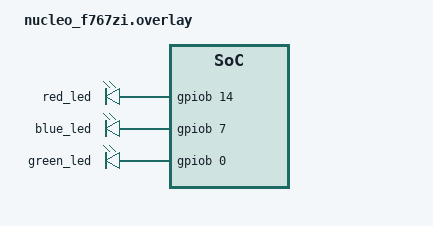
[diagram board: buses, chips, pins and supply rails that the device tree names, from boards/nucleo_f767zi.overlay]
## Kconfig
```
choice BLINK
  prompt "BLINK choice"
  default BLINK_SLEEP_1000MS

config BLINK_SLEEP_250MS
    bool "Fast"
config BLINK_SLEEP_1000MS
    bool "Normal"
config BLINK_SLEEP_2000MS
    bool "Slow"
endchoice

config BLINK_SLEEP_TIME_MS 
    int 
    default 250 if BLINK_SLEEP_250MS
    default 1000 if BLINK_SLEEP_1000MS
    default 2000 if BLINK_SLEEP_2000MS
    default 0
    range 100 5000 
    help
          help  string can be multiline like this one


menuconfig LED_SUBSYSTEM
  bool "LED Subsystem"
  default y

  if LED_SUBSYSTEM 

  choice BLINK_SLEEP_TIME
    prompt "LED blink sleep time"
    default BLINK_SLEEP_TIME_1S

  config BLINK_SLEEP_TIME_250MS
      bool "250ms (very fast)"
  config BLINK_SLEEP_TIME_500MS
      bool "500ms  (fast)"
  config BLINK_SLEEP_TIME_1S
      bool "1s  (medium)"
  config BLINK_SLEEP_TIME_2S
      bool "2s (slow)"
  endchoice


menuconfig ADVANCED_LED_SETTINGS
  bool "Advanced LED settings"
  default y

if ADVANCED_LED_SETTINGS
config LED_BRIGHTNESS
  int "LED brightness (0-100)"
  range 0 100
  default 100

config LED_FADE_DURATION_MS
  int "LED fade duration (ms)"
  range 0 5000
  default 500

endif 

  menu "Expert settings"
    visible if ADVANCED_LED_SETTINGS

    config LED_DEBUGGING
      bool "Enable LED debugging"

    config CUSTOM_BLINK_PATTERN
      bool "Custom blink pattern"
  endmenu

endif

config BLINK_SLEEP_TIME_MS
  int
  default 250 if BLINK_SLEEP_TIME_250MS
  default 500 if BLINK_SLEEP_TIME_500MS
  default 1000 if BLINK_SLEEP_TIME_1S
  default 2000 if BLINK_SLEEP_TIME_2S


menuconfig APP_HEARTBEAT_PERIOD_MS
  int "APP heartbeat time (100-2000)"
  range 0 2000
  default 500

source "Kconfig.zephyr"
```

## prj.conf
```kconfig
CONFIG_GPIO=y
CONFIG_LOG=y
# CONFIG_BLINK_SLEEP_250MS=y
# CONFIG_BLINK_SLEEP_1000MS=y
# CONFIG_BLINK_SLEEP_2000MS=y
#CONFIG_BLINK_SLEEP_TIME_MS=1000

#CONFIG_LED_SUBSYSTEM=y
```

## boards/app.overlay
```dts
/ {
  aliases{
    app-led = &green_led;
  };
};
```

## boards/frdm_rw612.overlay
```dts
/ {
    leds {
        red_led: led_0 {
          gpios = <&hsgpio0 1 GPIO_ACTIVE_LOW>;
        };

        blue_led: led_2 {
          gpios = <&hsgpio0 0 GPIO_ACTIVE_LOW>;
        };
    };
};
```

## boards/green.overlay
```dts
/ {
  aliases {
    warning-led = &green_led;
  };
};
```

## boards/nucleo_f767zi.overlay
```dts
/ {
    leds {
        red_led: led_2 {
          gpios = <&gpiob 14 GPIO_ACTIVE_HIGH>;
        };

        blue_led: led_1 {
          gpios = <&gpiob 7 GPIO_ACTIVE_HIGH>;
        };

        green_led: led_0 {
          gpios = <&gpiob 0 GPIO_ACTIVE_HIGH>;
        };
    };
};
```

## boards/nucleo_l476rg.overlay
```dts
/ {
    leds {
        red_led: led_0 {
          gpios = <&gpioa 5 GPIO_ACTIVE_LOW>;
        };

        blue_led: led_2 {
          gpios = <&gpioa 5 GPIO_ACTIVE_LOW>;
        };
    };
};
```

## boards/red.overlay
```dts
/ {
  aliases {
      warning-led = &red_led;
  };
};
```

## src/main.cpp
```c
#include <zephyr/drivers/gpio.h>
#include <zephyr/kernel.h>
#include <zephyr/logging/log.h>

// #define SLEEP_TIME_MS 1000

/* The devicetree node identifier for the "led0" alias. */
//#define LED_NODE DT_ALIAS(led0)
// #define LED_NODE DT_NODELABEL(red_led)
// #define LED_NODE DT_NODELABEL(blue_led)
// #define LED_NODE DT_ALIAS(warning_led)
#define LED_NODE DT_ALIAS(led0)


static const struct gpio_dt_spec led = GPIO_DT_SPEC_GET(LED_NODE, gpios);

LOG_MODULE_REGISTER(main, LOG_LEVEL_INF);

int main(void) {
  bool led_state = true;

  if (!gpio_is_ready_dt(&led))
    return 0;

  if (gpio_pin_configure_dt(&led, GPIO_OUTPUT_ACTIVE) < 0)
    return 0;

  while (1) {
    if (gpio_pin_toggle_dt(&led) < 0)
      return 0;

    led_state = !led_state;
    LOG_INF("LED state: %s", led_state ? "ON" : "OFF");
    // k_msleep(SLEEP_TIME_MS);
    // k_msleep(CONFIG_BLINK_SLEEP_TIME_MS);
    k_msleep(CONFIG_APP_HEARTBEAT_PERIOD_MS);
  }
  return 0;
}
```
